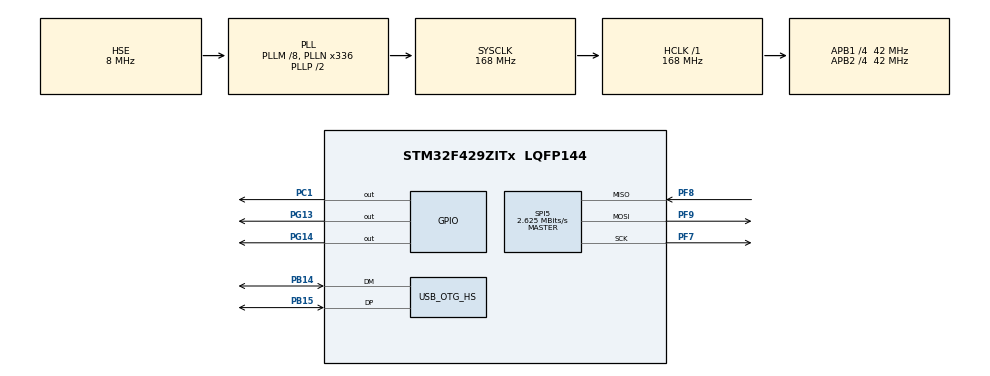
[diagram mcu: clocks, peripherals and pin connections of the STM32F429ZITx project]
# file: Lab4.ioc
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Mcu.Family=STM32F4
Mcu.Name=STM32F429ZITx
Mcu.Package=LQFP144
NVIC.OTG_HS_IRQn=true\:0\:0\:false\:false\:true\:true\:true\:true
NVIC.PriorityGroup=NVIC_PRIORITYGROUP_4
PB14.Mode=Device_Only_FS
PB14.Signal=USB_OTG_HS_DM
PB15.Mode=Device_Only_FS
PB15.Signal=USB_OTG_HS_DP
PC1.Signal=GPIO_Output
PF7.Mode=Full_Duplex_Master
PF7.Signal=SPI5_SCK
PF8.Mode=Full_Duplex_Master
PF8.Signal=SPI5_MISO
PF9.Mode=Full_Duplex_Master
PF9.Signal=SPI5_MOSI
PG13.Signal=GPIO_Output
PG14.Signal=GPIO_Output
PH0/OSC_IN.Mode=HSE-External-Oscillator
PH0/OSC_IN.Signal=RCC_OSC_IN
PH1/OSC_OUT.Mode=HSE-External-Oscillator
PH1/OSC_OUT.Signal=RCC_OSC_OUT
ProjectManager.HeapSize=0x2000
ProjectManager.StackSize=0x400
ProjectManager.TargetToolchain=STM32CubeIDE
RCC.48MHZClocksFreq_Value=48000000
RCC.AHBFreq_Value=168000000
RCC.APB1CLKDivider=RCC_HCLK_DIV4
RCC.APB1Freq_Value=42000000
RCC.APB1TimFreq_Value=84000000
RCC.APB2CLKDivider=RCC_HCLK_DIV4
RCC.APB2Freq_Value=42000000
RCC.APB2TimFreq_Value=84000000
RCC.CortexFreq_Value=168000000
RCC.HCLKFreq_Value=168000000
RCC.HSE_VALUE=8000000
RCC.HSI_VALUE=16000000
RCC.LSE_VALUE=32768
RCC.PLLM=8
RCC.PLLN=336
RCC.PLLQ=7
RCC.SYSCLKFreq_VALUE=168000000
RCC.SYSCLKSource=RCC_SYSCLKSOURCE_PLLCLK
RCC.VCOOutputFreq_Value=336000000
SPI5.BaudRatePrescaler=SPI_BAUDRATEPRESCALER_16
SPI5.CalculateBaudRate=2.625 MBits/s
SPI5.Direction=SPI_DIRECTION_2LINES
SPI5.Mode=SPI_MODE_MASTER
SPI5.VirtualType=VM_MASTER
USB_DEVICE.CLASS_NAME_HS=CDC
USB_DEVICE.VirtualMode-CDC_HS=Cdc
USB_DEVICE.VirtualModeHS=Cdc_HS
USB_OTG_HS.VirtualMode-Device_Only_FS=Device_Only_FS
VP_USB_DEVICE_VS_USB_DEVICE_CDC_HS.Mode=CDC_HS
board=custom

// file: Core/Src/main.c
/* USER CODE BEGIN Header */
/**
  ******************************************************************************
  * @file           : main.c
  * @brief          : Main program body
  ******************************************************************************
  * @attention
  *
  * Copyright (c) 2022 STMicroelectronics.
  * All rights reserved.
  *
  * This software is licensed under terms that can be found in the LICENSE file
  * in the root directory of this software component.
  * If no LICENSE file comes with this software, it is provided AS-IS.
  *
  ******************************************************************************
  */
/* USER CODE END Header */
#include "main.h"
#include "usb_device.h"
#include "usbd_cdc_if.h"
#include "stm32f429i_discovery_lcd.h"
#include "time.h"
#include <unistd.h>

/* USER CODE BEGIN PTD */
#define DT 0.01         // [s/loop] loop period. 20ms
#define G_GAIN 0.070     // [deg/s/LSB]
/* USER CODE END PTD */

SPI_HandleTypeDef hspi5;

/* USER CODE BEGIN PV */
float val[3];
char LCD_send[30];
float rate_gyr_y = 0.0;   // [deg/s]
float rate_gyr_x = 0.0;   // [deg/s]
float rate_gyr_z = 0.0;   // [deg/s]
float gyroXangle = 0.0;
float gyroYangle = 0.0;
float gyroZangle = 0.0;
float tmpX = 0.0;
float tmpY = 0.0;
/* USER CODE END PV */

void SystemClock_Config(void);
static void MX_GPIO_Init(void);
static void MX_SPI5_Init(void);

int main(void)
{

  /* MCU Configuration--------------------------------------------------------*/

  /* Reset of all peripherals, Initializes the Flash interface and the Systick. */
  HAL_Init();

  /* Configure the system clock */
  SystemClock_Config();

  /* Initialize all configured peripherals */
  MX_GPIO_Init();
  MX_SPI5_Init();
  MX_USB_DEVICE_Init();
  /* USER CODE BEGIN 2 */
  BSP_LCD_Init();//init LCD
  BSP_GYRO_Init();
  //set the layer buffer address into SDRAM
  BSP_LCD_LayerDefaultInit(1, SDRAM_DEVICE_ADDR);
  BSP_LCD_SelectLayer(1);//select on which layer we write
  BSP_LCD_DisplayOn();//turn on LCD
  BSP_LCD_Clear(LCD_COLOR_BLUE);//clear the LCD on blue color
  BSP_LCD_SetBackColor(LCD_COLOR_BLUE);//set text background color
  BSP_LCD_SetTextColor(LCD_COLOR_WHITE);//set text color
  //write text
  /* USER CODE END 2 */
  //int startInt  = mymillis();
  /* Infinite loop */
  while (1)
  {
	  /*BSP_LCD_FillTriangle(120,95,145,10,50,50); //phia tren
	  BSP_LCD_FillTriangle(5,45,45,160,135,185); //ben trai
	  BSP_LCD_FillTriangle(235,195,195,160,135,185); //ben phai
	  BSP_LCD_FillTriangle(120,95,145,310,270,270); //phia duoi*/
	  //startInt = mymillis();
	  BSP_GYRO_GetXYZ(val);

	  rate_gyr_x = val[0]  * G_GAIN;
	  rate_gyr_y = val[1]  * G_GAIN;
	  rate_gyr_z = val[2]  * G_GAIN;

	  gyroXangle+=rate_gyr_x*DT;
	  gyroYangle+=rate_gyr_y*DT;
	  gyroZangle+=rate_gyr_z*DT;

	  BSP_LCD_Clear(LCD_COLOR_BLUE);
	  BSP_LCD_SetBackColor(LCD_COLOR_BLUE);

	  if ((tmpX - gyroXangle)>10){
		  if ((tmpY - gyroYangle) >10){
		  		BSP_LCD_FillTriangle(120,95,145,10,50,50); //phia tren + ben trai
		  		BSP_LCD_FillTriangle(5,45,45,160,135,185);
		  		HAL_Delay(250);
		  }
		  else if ((gyroYangle - tmpY) >10){
		  		BSP_LCD_FillTriangle(120,95,145,10,50,50); // phia tren + ben phai
		  		BSP_LCD_FillTriangle(235,195,195,160,135,185);
		  		HAL_Delay(250);
		  }
		  else
			  	HAL_Delay(250);
	  }
	  else if ((gyroXangle - tmpX)>10){
		  if ((tmpY - gyroYangle) >10){
		  		BSP_LCD_SetBackColor(LCD_COLOR_BLUE);
		  		BSP_LCD_FillTriangle(120,95,145,310,270,270); //phia duoi + ben trai
		  		BSP_LCD_FillTriangle(5,45,45,160,135,185);
		  		HAL_Delay(250);
		  }
		  else if ((gyroYangle - tmpY) >10){
		  		BSP_LCD_SetBackColor(LCD_COLOR_BLUE);
		  		BSP_LCD_FillTriangle(120,95,145,310,270,270); //phia duoi + ben phai
		  		BSP_LCD_FillTriangle(235,195,195,160,135,185);
		  		HAL_Delay(250);
		  	}
		  else
		  		HAL_Delay(250);
	  }
	  else
		  	 	HAL_Delay(250);

	  tmpX = gyroXangle;
	  tmpY = gyroYangle;

	  sprintf(LCD_send,"x = %f, y = %f, z = %f \n",gyroXangle,gyroYangle, gyroZangle);
	  CDC_Transmit_HS(LCD_send,strlen(LCD_send));

	 for (int i = 0;i<1500000;i++);

  }
}

void SystemClock_Config(void)
{
  RCC_OscInitTypeDef RCC_OscInitStruct = {0};
  RCC_ClkInitTypeDef RCC_ClkInitStruct = {0};

  /** Configure the main internal regulator output voltage
  */
  __HAL_RCC_PWR_CLK_ENABLE();
  __HAL_PWR_VOLTAGESCALING_CONFIG(PWR_REGULATOR_VOLTAGE_SCALE1);

  /** Initializes the RCC Oscillators according to the specified parameters
  * in the RCC_OscInitTypeDef structure.
  */
  RCC_OscInitStruct.OscillatorType = RCC_OSCILLATORTYPE_HSE;
  RCC_OscInitStruct.HSEState = RCC_HSE_ON;
  RCC_OscInitStruct.PLL.PLLState = RCC_PLL_ON;
  RCC_OscInitStruct.PLL.PLLSource = RCC_PLLSOURCE_HSE;
  RCC_OscInitStruct.PLL.PLLM = 8;
  RCC_OscInitStruct.PLL.PLLN = 336;
  RCC_OscInitStruct.PLL.PLLP = RCC_PLLP_DIV2;
  RCC_OscInitStruct.PLL.PLLQ = 7;
  if (HAL_RCC_OscConfig(&RCC_OscInitStruct) != HAL_OK)
  {
    Error_Handler();
  }

  /** Initializes the CPU, AHB and APB buses clocks
  */
  RCC_ClkInitStruct.ClockType = RCC_CLOCKTYPE_HCLK|RCC_CLOCKTYPE_SYSCLK
                              |RCC_CLOCKTYPE_PCLK1|RCC_CLOCKTYPE_PCLK2;
  RCC_ClkInitStruct.SYSCLKSource = RCC_SYSCLKSOURCE_PLLCLK;
  RCC_ClkInitStruct.AHBCLKDivider = RCC_SYSCLK_DIV1;
  RCC_ClkInitStruct.APB1CLKDivider = RCC_HCLK_DIV4;
  RCC_ClkInitStruct.APB2CLKDivider = RCC_HCLK_DIV4;

  if (HAL_RCC_ClockConfig(&RCC_ClkInitStruct, FLASH_LATENCY_5) != HAL_OK)
  {
    Error_Handler();
  }
}

static void MX_SPI5_Init(void)
{

  /* SPI5 parameter configuration*/
  hspi5.Instance = SPI5;
  hspi5.Init.Mode = SPI_MODE_MASTER;
  hspi5.Init.Direction = SPI_DIRECTION_2LINES;
  hspi5.Init.DataSize = SPI_DATASIZE_8BIT;
  hspi5.Init.CLKPolarity = SPI_POLARITY_LOW;
  hspi5.Init.CLKPhase = SPI_PHASE_1EDGE;
  hspi5.Init.NSS = SPI_NSS_SOFT;
  hspi5.Init.BaudRatePrescaler = SPI_BAUDRATEPRESCALER_16;
  hspi5.Init.FirstBit = SPI_FIRSTBIT_MSB;
  hspi5.Init.TIMode = SPI_TIMODE_DISABLE;
  hspi5.Init.CRCCalculation = SPI_CRCCALCULATION_DISABLE;
  hspi5.Init.CRCPolynomial = 10;
  if (HAL_SPI_Init(&hspi5) != HAL_OK)
  {
    Error_Handler();
  }

}

static void MX_GPIO_Init(void)
{
  GPIO_InitTypeDef GPIO_InitStruct = {0};

  /* GPIO Ports Clock Enable */
  __HAL_RCC_GPIOF_CLK_ENABLE();
  __HAL_RCC_GPIOH_CLK_ENABLE();
  __HAL_RCC_GPIOC_CLK_ENABLE();
  __HAL_RCC_GPIOB_CLK_ENABLE();
  __HAL_RCC_GPIOG_CLK_ENABLE();

  /*Configure GPIO pin Output Level */
  HAL_GPIO_WritePin(GPIOC, GPIO_PIN_1, GPIO_PIN_RESET);

  /*Configure GPIO pin Output Level */
  HAL_GPIO_WritePin(GPIOG, GPIO_PIN_13|GPIO_PIN_14, GPIO_PIN_RESET);

  /*Configure GPIO pin : PC1 */
  GPIO_InitStruct.Pin = GPIO_PIN_1;
  GPIO_InitStruct.Mode = GPIO_MODE_OUTPUT_PP;
  GPIO_InitStruct.Pull = GPIO_NOPULL;
  GPIO_InitStruct.Speed = GPIO_SPEED_FREQ_LOW;
  HAL_GPIO_Init(GPIOC, &GPIO_InitStruct);

  /*Configure GPIO pins : PG13 PG14 */
  GPIO_InitStruct.Pin = GPIO_PIN_13|GPIO_PIN_14;
  GPIO_InitStruct.Mode = GPIO_MODE_OUTPUT_PP;
  GPIO_InitStruct.Pull = GPIO_NOPULL;
  GPIO_InitStruct.Speed = GPIO_SPEED_FREQ_LOW;
  HAL_GPIO_Init(GPIOG, &GPIO_InitStruct);

}

void Error_Handler(void)
{
  __disable_irq();
  while (1)
  {
  }
}
